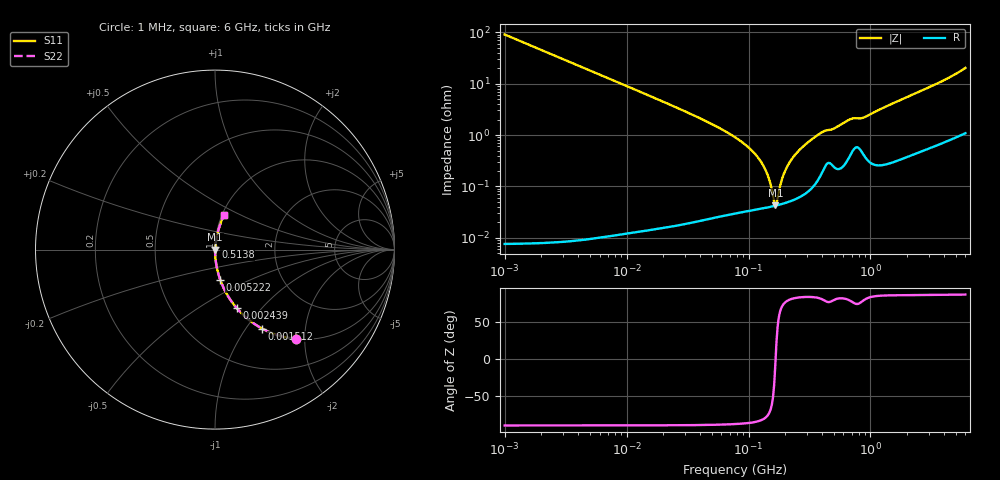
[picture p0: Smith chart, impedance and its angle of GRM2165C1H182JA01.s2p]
!Murata Part Number: GRM2165C1H182JA01
!These Parameters are Measured in Series Mode Connection
!Data Generated on Mar 30, 2021
!  o--ll--o
!Port1  Port2
!  o------o
!Operation Temp=25[degC], DC Bias Voltage=0[V]
!Freq. Start=1000[kHz] Stop=6[GHz] 401[Steps]
# Hz S RI R 50
!Freq.(Hz) S11(Real) S11(Imag) S21(Real) S21(Imag) S12(Real) S12(Imag) S22(Real) S22(Imag)
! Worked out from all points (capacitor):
!   401 points, 1 MHz to 6 GHz, reference 50 ohm
!   read as one part in series: C = 1.76 nF near 1.044 MHz
!   lowest |Z| = 42.6 mohm at 165.8 MHz (marker M1)
!   series resonance near 166.7 MHz, so ESL is about 520 pH
!   S11 on the Smith chart (normalised r, x): 1 MHz: 1.00, -1.80; 1.512 MHz: 1.00, -1.19; 2.439 MHz: 1.00, -0.74; 5.222 MHz: 1.00, -0.35; 513.8 MHz: 1.00, +0.03; 6 GHz: 1.02, +0.40
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1000000  0.4488 -0.4973  0.5512 0.4973  0.5512 0.4973  0.4488 -0.4973
1511688  0.2627 -0.4401  0.7373 0.4401  0.7373 0.4401  0.2627 -0.4401
2439274  0.1204 -0.3253  0.8796 0.3253  0.8796 0.3253  0.1204 -0.3253
4293785  0.0423 -0.2011  0.9577 0.2011  0.9577 0.2011  0.0423 -0.2011
5222143  0.029 -0.1676  0.971 0.1676  0.971 0.1676  0.029 -0.1676
1.843659e7  0.00248 -0.0481  0.9975 0.0481  0.9975 0.0481  0.00248 -0.0481
7.745967e7  0.000379 -0.00907  0.9996 0.00907  0.9996 0.00907  0.000379 -0.00907
1.050294e8  0.000366 -0.00514  0.9996 0.00514  0.9996 0.00514  0.000366 -0.00514
1.277378e8  0.000379 -0.0029  0.9996 0.0029  0.9996 0.0029  0.000379 -0.0029
1.424119e8  0.000393 -0.0017  0.9996 0.0017  0.9996 0.0017  0.000393 -0.0017
1.587717e8  0.000412 -0.000526  0.9996 0.000526  0.9996 0.000526  0.000412 -0.000526
1.658303e8  0.000422 -5.73e-05  0.9996 5.73e-05  0.9996 5.73e-05  0.000422 -5.73e-05
1.732027e8  0.000433 0.000412  0.9996 -0.000412  0.9996 -0.000412  0.000433 0.000412
1.930997e8  0.000468 0.00159  0.9995 -0.00159  0.9995 -0.00159  0.000468 0.00159
2.152823e8  0.000513 0.0028  0.9995 -0.0028  0.9995 -0.0028  0.000513 0.0028
2.561955e8  0.000624 0.00483  0.9994 -0.00483  0.9994 -0.00483  0.000624 0.00483
3.325952e8  0.00101 0.0083  0.999 -0.0083  0.999 -0.0083  0.00101 0.0083
5.138348e8  0.00246 0.0135  0.9975 -0.0135  0.9975 -0.0135  0.00246 0.0135
6.817316e8  0.00438 0.0197  0.9956 -0.0197  0.9956 -0.0197  0.00438 0.0197
8.8503e8  0.00445 0.0214  0.9955 -0.0214  0.9955 -0.0214  0.00445 0.0214
1.428092e9  0.00425 0.0381  0.9958 -0.0381  0.9958 -0.0381  0.00425 0.0381
6e9  0.0487 0.1901  0.9513 -0.1901  0.9513 -0.1901  0.0487 0.1901
